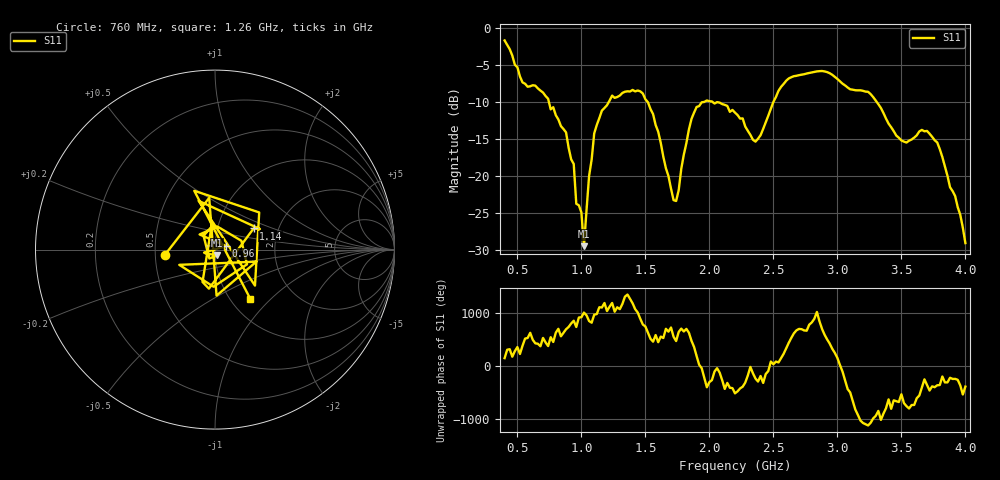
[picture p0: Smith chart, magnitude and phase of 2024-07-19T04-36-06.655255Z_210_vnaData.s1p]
!Created with skrf (http://scikit-rf.org).
# Hz S RI R 50.0
!freq ReS11 ImS11
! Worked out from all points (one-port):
!   181 points, 400 MHz to 4 GHz, reference 50 ohm
!   lowest |S11| = -29.5 dB at 1.02 GHz (marker M1), VSWR 1.07, Z = 51 - j3.25 ohm
!   |S11| at or under -10 dB: 745.6 MHz to 1.215 GHz (469.5 MHz wide, 47.9 % of centre); 2.023 GHz to 2.501 GHz (478.2 MHz wide, 21.1 % of centre); 3.306 GHz to end of sweep (the widest 3 of 4)
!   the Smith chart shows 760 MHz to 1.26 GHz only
!   S11 on the Smith chart (normalised r, x): 760 MHz: 0.56, -0.04; 960 MHz: 1.13, +0.05; 1.14 GHz: 1.49, +0.37; 1.26 GHz: 1.23, -0.76
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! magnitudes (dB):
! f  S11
! 400 MHz  -1.7
! 540 MHz  -7.4
! 760 MHz  -11.0
! 860 MHz  -13.7
! 940 MHz  -18.4
! 960 MHz  -23.8
! 1 GHz  -24.9
! 1.02 GHz  -29.5
! 1.06 GHz  -20.0
! 1.1 GHz  -14.3
! 1.14 GHz  -12.2
! 1.26 GHz  -9.5
! 1.3 GHz  -9.2
! 1.48 GHz  -8.9
! 1.6 GHz  -14.0
! 1.72 GHz  -23.3
! 1.76 GHz  -21.9
! 1.84 GHz  -13.7
! 1.9 GHz  -10.7
! 2.2 GHz  -11.5
! 2.36 GHz  -15.4
! 2.66 GHz  -6.6
! 2.9 GHz  -5.9
! 3.1 GHz  -8.3
! 3.24 GHz  -8.7
! 3.56 GHz  -15.3
! 3.78 GHz  -15.5
! 4 GHz  -29.1
